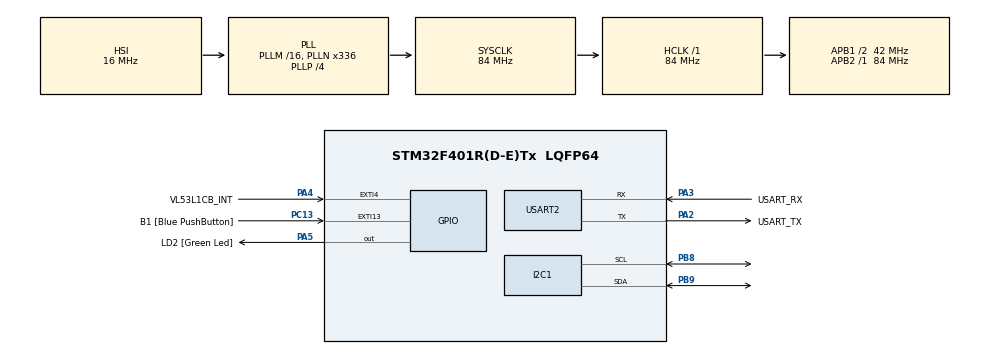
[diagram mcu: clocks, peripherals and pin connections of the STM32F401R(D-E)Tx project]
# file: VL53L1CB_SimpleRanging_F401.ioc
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I2C1.I2C_Mode=I2C_Standard
Mcu.Family=STM32F4
Mcu.Name=STM32F401R(D-E)Tx
Mcu.Package=LQFP64
NVIC.EXTI4_IRQn=true\:0\:0\:false\:false\:true\:true\:true\:true
NVIC.PriorityGroup=NVIC_PRIORITYGROUP_4
PA13.GPIO_Label=TMS
PA13.Mode=Trace_Asynchronous_SW
PA13.Signal=SYS_JTMS-SWDIO
PA14.GPIO_Label=TCK
PA14.Mode=Trace_Asynchronous_SW
PA14.Signal=SYS_JTCK-SWCLK
PA2.GPIO_Label=USART_TX
PA2.GPIO_Mode=GPIO_MODE_AF_PP
PA2.GPIO_PuPd=GPIO_NOPULL
PA2.GPIO_Speed=GPIO_SPEED_FREQ_LOW
PA2.Mode=Asynchronous
PA2.Signal=USART2_TX
PA3.GPIO_Label=USART_RX
PA3.GPIO_Mode=GPIO_MODE_AF_PP
PA3.GPIO_PuPd=GPIO_NOPULL
PA3.GPIO_Speed=GPIO_SPEED_FREQ_LOW
PA3.Mode=Asynchronous
PA3.Signal=USART2_RX
PA4.GPIO_Label=VL53L1CB_INT
PA4.GPIO_ModeDefaultEXTI=GPIO_MODE_IT_FALLING
PA4.Signal=GPXTI4
PA5.GPIO_Label=LD2 [Green Led]
PA5.GPIO_Mode=GPIO_MODE_OUTPUT_PP
PA5.GPIO_PuPd=GPIO_NOPULL
PA5.GPIO_Speed=GPIO_SPEED_FREQ_LOW
PA5.Signal=GPIO_Output
PB3.GPIO_Label=SWO
PB3.Mode=Trace_Asynchronous_SW
PB3.Signal=SYS_JTDO-SWO
PB8.Mode=I2C
PB8.Signal=I2C1_SCL
PB9.Mode=I2C
PB9.Signal=I2C1_SDA
PC13-ANTI_TAMP.GPIO_Label=B1 [Blue PushButton]
PC13-ANTI_TAMP.GPIO_ModeDefaultEXTI=GPIO_MODE_IT_FALLING
PC13-ANTI_TAMP.GPIO_PuPd=GPIO_NOPULL
PC13-ANTI_TAMP.Signal=GPXTI13
PC14-OSC32_IN.Mode=LSE-External-Oscillator
PC14-OSC32_IN.Signal=RCC_OSC32_IN
PC15-OSC32_OUT.Mode=LSE-External-Oscillator
PC15-OSC32_OUT.Signal=RCC_OSC32_OUT
PH0\ -\ OSC_IN.Mode=HSE-External-Clock-Source
PH0\ -\ OSC_IN.Signal=RCC_OSC_IN
PH1\ -\ OSC_OUT.Mode=HSE-External-Clock-Source
PH1\ -\ OSC_OUT.Signal=RCC_OSC_OUT
ProjectManager.HeapSize=0x200
ProjectManager.StackSize=0x400
ProjectManager.TargetToolchain=STM32CubeIDE
RCC.48MHZClocksFreq_Value=48000000
RCC.AHBFreq_Value=84000000
RCC.APB1CLKDivider=RCC_HCLK_DIV2
RCC.APB1Freq_Value=42000000
RCC.APB1TimFreq_Value=84000000
RCC.APB2Freq_Value=84000000
RCC.APB2TimFreq_Value=84000000
RCC.CortexFreq_Value=84000000
RCC.HCLKFreq_Value=84000000
RCC.HSE_VALUE=8000000
RCC.HSI_VALUE=16000000
RCC.PLLN=336
RCC.PLLP=RCC_PLLP_DIV4
RCC.PLLQ=7
RCC.SYSCLKFreq_VALUE=84000000
RCC.SYSCLKSource=RCC_SYSCLKSOURCE_PLLCLK
RCC.VCOOutputFreq_Value=336000000
USART2.VirtualMode=VM_ASYNC
board=NUCLEO-F401RE

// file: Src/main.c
/* USER CODE BEGIN Header */
/**
  ******************************************************************************
  * @file           : main.c
  * @brief          : Main program body
  ******************************************************************************
  * @attention
  *
  * Copyright (c) 2025 STMicroelectronics.
  * All rights reserved.
  *
  * This software is licensed under terms that can be found in the LICENSE file
  * in the root directory of this software component.
  * If no LICENSE file comes with this software, it is provided AS-IS.
  *
  ******************************************************************************
  */
/* USER CODE END Header */
#include "main.h"

/* USER CODE BEGIN Includes */
#include "stm32xxx_hal.h"
#include "vl53l1_api.h"
#include "53L1A2.h"
/* USER CODE END Includes */

I2C_HandleTypeDef hi2c1;

UART_HandleTypeDef huart2;

/* USER CODE BEGIN PV */
VL53L1_Dev_t                   dev;
VL53L1_DEV                     Dev = &dev;
int status;
volatile int IntCount;
#define isInterrupt 1 /* If isInterrupt = 1 then device working in interrupt mode, else device working in polling mode */
/* USER CODE END PV */

void SystemClock_Config(void);
static void MX_GPIO_Init(void);
static void MX_USART2_UART_Init(void);
static void MX_I2C1_Init(void);
/* USER CODE BEGIN PFP */

void Error_Handler(void);
void RangingLoop(void); /* */
void Multizones(void);

/* USER CODE END PFP */

/* USER CODE BEGIN 0 */
#ifdef __GNUC__
#define PUTCHAR_PROTOTYPE int __io_putchar(int ch)
#else
#define PUTCHAR_PROTOTYPE int fputc(int ch, FILE *f)
#endif

PUTCHAR_PROTOTYPE
{
  HAL_UART_Transmit(&huart2, (uint8_t*)&ch, 1, 0xFFFF);
  return ch;
}

void HAL_GPIO_EXTI_Callback(uint16_t GPIO_Pin)
{
  if (GPIO_Pin==VL53L1CB_INT_Pin)
  {
    IntCount++;
  }
}

/* USER CODE END 0 */

int main(void)
{

  /* USER CODE BEGIN 1 */
  uint8_t byteData;
  uint16_t wordData;
  uint8_t ToFSensor = 1; // 0=Left, 1=Center(default), 2=Right
  /* USER CODE END 1 */

  /* MCU Configuration--------------------------------------------------------*/

  /* Reset of all peripherals, Initializes the Flash interface and the Systick. */
  HAL_Init();

  /* Configure the system clock */
  SystemClock_Config();

  /* Initialize all configured peripherals */
  MX_GPIO_Init();
  MX_USART2_UART_Init();
  MX_I2C1_Init();
  /* USER CODE BEGIN 2 */
  XNUCLEO53L1A1_Init();
  printf("VL53L1X Examples...\n");
  Dev->I2cHandle = &hi2c1;
  Dev->I2cDevAddr = 0x52;

  /* Allow to select the sensor to be used, multi-sensor is not managed in this example.
  Only when use use the Left ToF in interrupt mode,  solder the U7 on the X-Nucleo-53L1A1 board
  Only when use the Right ToF in interrupt mode, solder the U7 on the X-Nucleo-53L1A1 board
  See "Solder drop configurations" in the X-Nucleo-53L1A1 User Manual for more details */
  ToFSensor = 1; // Select ToFSensor: 0=Left, 1=Center, 2=Right
  status = XNUCLEO53L1A1_ResetId(ToFSensor, 0); // Reset ToF sensor
  HAL_Delay(2);
  status = XNUCLEO53L1A1_ResetId(ToFSensor, 1); // Reset ToF sensor
  HAL_Delay(2);

  VL53L1_RdByte(Dev, 0x010F, &byteData);
  printf("VL53L1X Model_ID: %02X\n\r", byteData);
  VL53L1_RdByte(Dev, 0x0110, &byteData);
  printf("VL53L1X Module_Type: %02X\n\r", byteData);
  VL53L1_RdWord(Dev, 0x010F, &wordData);
  printf("VL53L1X: %02X\n\r", wordData);
  RangingLoop();
  //Multizones();
  /* USER CODE END 2 */

  /* Infinite loop */
  while (1)
  {

  }
}

void SystemClock_Config(void)
{
  RCC_OscInitTypeDef RCC_OscInitStruct = {0};
  RCC_ClkInitTypeDef RCC_ClkInitStruct = {0};

  /** Configure the main internal regulator output voltage
  */
  __HAL_RCC_PWR_CLK_ENABLE();
  __HAL_PWR_VOLTAGESCALING_CONFIG(PWR_REGULATOR_VOLTAGE_SCALE2);

  /** Initializes the RCC Oscillators according to the specified parameters
  * in the RCC_OscInitTypeDef structure.
  */
  RCC_OscInitStruct.OscillatorType = RCC_OSCILLATORTYPE_HSI;
  RCC_OscInitStruct.HSIState = RCC_HSI_ON;
  RCC_OscInitStruct.HSICalibrationValue = RCC_HSICALIBRATION_DEFAULT;
  RCC_OscInitStruct.PLL.PLLState = RCC_PLL_ON;
  RCC_OscInitStruct.PLL.PLLSource = RCC_PLLSOURCE_HSI;
  RCC_OscInitStruct.PLL.PLLM = 16;
  RCC_OscInitStruct.PLL.PLLN = 336;
  RCC_OscInitStruct.PLL.PLLP = RCC_PLLP_DIV4;
  RCC_OscInitStruct.PLL.PLLQ = 7;
  if (HAL_RCC_OscConfig(&RCC_OscInitStruct) != HAL_OK)
  {
    Error_Handler();
  }

  /** Initializes the CPU, AHB and APB buses clocks
  */
  RCC_ClkInitStruct.ClockType = RCC_CLOCKTYPE_HCLK|RCC_CLOCKTYPE_SYSCLK
                              |RCC_CLOCKTYPE_PCLK1|RCC_CLOCKTYPE_PCLK2;
  RCC_ClkInitStruct.SYSCLKSource = RCC_SYSCLKSOURCE_PLLCLK;
  RCC_ClkInitStruct.AHBCLKDivider = RCC_SYSCLK_DIV1;
  RCC_ClkInitStruct.APB1CLKDivider = RCC_HCLK_DIV2;
  RCC_ClkInitStruct.APB2CLKDivider = RCC_HCLK_DIV1;

  if (HAL_RCC_ClockConfig(&RCC_ClkInitStruct, FLASH_LATENCY_2) != HAL_OK)
  {
    Error_Handler();
  }
}

static void MX_I2C1_Init(void)
{

  hi2c1.Instance = I2C1;
  hi2c1.Init.ClockSpeed = 100000;
  hi2c1.Init.DutyCycle = I2C_DUTYCYCLE_2;
  hi2c1.Init.OwnAddress1 = 0;
  hi2c1.Init.AddressingMode = I2C_ADDRESSINGMODE_7BIT;
  hi2c1.Init.DualAddressMode = I2C_DUALADDRESS_DISABLE;
  hi2c1.Init.OwnAddress2 = 0;
  hi2c1.Init.GeneralCallMode = I2C_GENERALCALL_DISABLE;
  hi2c1.Init.NoStretchMode = I2C_NOSTRETCH_DISABLE;
  if (HAL_I2C_Init(&hi2c1) != HAL_OK)
  {
    Error_Handler();
  }

}

static void MX_USART2_UART_Init(void)
{

  huart2.Instance = USART2;
  huart2.Init.BaudRate = 115200;
  huart2.Init.WordLength = UART_WORDLENGTH_8B;
  huart2.Init.StopBits = UART_STOPBITS_1;
  huart2.Init.Parity = UART_PARITY_NONE;
  huart2.Init.Mode = UART_MODE_TX_RX;
  huart2.Init.HwFlowCtl = UART_HWCONTROL_NONE;
  huart2.Init.OverSampling = UART_OVERSAMPLING_16;
  if (HAL_UART_Init(&huart2) != HAL_OK)
  {
    Error_Handler();
  }

}

static void MX_GPIO_Init(void)
{
  GPIO_InitTypeDef GPIO_InitStruct = {0};

  /* GPIO Ports Clock Enable */
  __HAL_RCC_GPIOC_CLK_ENABLE();
  __HAL_RCC_GPIOH_CLK_ENABLE();
  __HAL_RCC_GPIOA_CLK_ENABLE();
  __HAL_RCC_GPIOB_CLK_ENABLE();

  /*Configure GPIO pin Output Level */
  HAL_GPIO_WritePin(LD2_GPIO_Port, LD2_Pin, GPIO_PIN_RESET);

  /*Configure GPIO pin : B1_Pin */
  GPIO_InitStruct.Pin = B1_Pin;
  GPIO_InitStruct.Mode = GPIO_MODE_IT_FALLING;
  GPIO_InitStruct.Pull = GPIO_NOPULL;
  HAL_GPIO_Init(B1_GPIO_Port, &GPIO_InitStruct);

  /*Configure GPIO pin : VL53L1CB_INT_Pin */
  GPIO_InitStruct.Pin = VL53L1CB_INT_Pin;
  GPIO_InitStruct.Mode = GPIO_MODE_IT_FALLING;
  GPIO_InitStruct.Pull = GPIO_NOPULL;
  HAL_GPIO_Init(VL53L1CB_INT_GPIO_Port, &GPIO_InitStruct);

  /*Configure GPIO pin : LD2_Pin */
  GPIO_InitStruct.Pin = LD2_Pin;
  GPIO_InitStruct.Mode = GPIO_MODE_OUTPUT_PP;
  GPIO_InitStruct.Pull = GPIO_NOPULL;
  GPIO_InitStruct.Speed = GPIO_SPEED_FREQ_LOW;
  HAL_GPIO_Init(LD2_GPIO_Port, &GPIO_InitStruct);

  /* EXTI interrupt init*/
  HAL_NVIC_SetPriority(EXTI4_IRQn, 0, 0);
  HAL_NVIC_EnableIRQ(EXTI4_IRQn);

}

/* USER CODE BEGIN 4 */
/* Ranging loop*/
void RangingLoop(void)
{
  VL53L1_MultiRangingData_t MultiRangingData;
  VL53L1_MultiRangingData_t *pMultiRangingData = &MultiRangingData;
  uint8_t NewDataReady = 0;
  int no_of_object_found = 0, j;
  printf("Ranging loop starts\n");
  status = VL53L1_WaitDeviceBooted(Dev);
  status = VL53L1_DataInit(Dev);
  status = VL53L1_StaticInit(Dev);
  /* VL53L1_SetPresetMode function is mandatory to be called even if default PresetMode is the VL53L1_PRESETMODE_RANGING */
  status = VL53L1_SetPresetMode(Dev, VL53L1_PRESETMODE_RANGING);
  //	status = VL53L1_SetDistanceMode(Dev, VL53L1_DISTANCEMODE_SHORT);
  //	status = VL53L1_SetMeasurementTimingBudgetMicroSeconds(Dev, 60000);
  status = VL53L1_StartMeasurement(Dev);
  if(status){
    printf("VL53L1_StartMeasurement failed: error = %d \n", status);
    while(1);
  }
  if (isInterrupt){
    do // HW interrupt mode
    {
      __WFI();
      if(IntCount !=0 ){
        IntCount=0;
        status = VL53L1_GetMultiRangingData(Dev, pMultiRangingData);
        no_of_object_found=pMultiRangingData->NumberOfObjectsFound;
        printf("Count=%5d, ", pMultiRangingData->StreamCount);
        printf("#Objs=%1d ", no_of_object_found);
        for(j=0;j<no_of_object_found;j++){
          if(j!=0)printf("\n                     ");
          printf("status=%d, D=%5dmm, Signal=%2.2f Mcps, Ambient=%2.2f Mcps",
                 pMultiRangingData->RangeData[j].RangeStatus,
                 pMultiRangingData->RangeData[j].RangeMilliMeter,
                 pMultiRangingData->RangeData[j].SignalRateRtnMegaCps/65536.0,
                 pMultiRangingData->RangeData[j].AmbientRateRtnMegaCps/65536.0);
        }
        printf ("\n");
        if (status==0){
          status = VL53L1_ClearInterruptAndStartMeasurement(Dev);
        }
      }
    }
    while(1);
  }
  else{
    do{ // polling mode
      status = VL53L1_GetMeasurementDataReady(Dev, &NewDataReady);
      HAL_Delay(1);
      if((!status)&&(NewDataReady!=0)){
        status = VL53L1_GetMultiRangingData(Dev, pMultiRangingData);
        no_of_object_found=pMultiRangingData->NumberOfObjectsFound;
        printf("Count=%5d, ", pMultiRangingData->StreamCount);
        printf("#Objs=%1d ", no_of_object_found);
        for(j=0;j<no_of_object_found;j++){
          if(j!=0)printf("\n                     ");
          printf("status=%d, D=%5dmm, Signal=%2.2f Mcps, Ambient=%2.2f Mcps",
                 pMultiRangingData->RangeData[j].RangeStatus,
                 pMultiRangingData->RangeData[j].RangeMilliMeter,
                 pMultiRangingData->RangeData[j].SignalRateRtnMegaCps/65536.0,
                 pMultiRangingData->RangeData[j].AmbientRateRtnMegaCps/65536.0);
        }
        printf ("\n");
        if (status==0){
          status = VL53L1_ClearInterruptAndStartMeasurement(Dev);
        }
      }
    }
    while (1);
  }
}

/* Multizones loop*/
void Multizones(void)
{
  VL53L1_MultiRangingData_t MultiRangingData;
  VL53L1_MultiRangingData_t *pMultiRangingData = &MultiRangingData;
  uint8_t NewDataReady = 0;
  uint8_t NumROI = 2, RoiNumber=0, RoiStatus=0;
  int no_of_object_found = 0, j;
  VL53L1_RoiConfig_t pRoiConfig;
  printf("Multizones loop starts\n");
  status = VL53L1_WaitDeviceBooted(Dev);
  status = VL53L1_DataInit(Dev);
  status = VL53L1_StaticInit(Dev);
  /*VL53L1_SetPresetMode function is mandatory to be called even if default PresetMode is the VL53L1_PRESETMODE_RANGING */
  status = VL53L1_SetPresetMode(Dev, VL53L1_PRESETMODE_MULTIZONES_SCANNING);
  pRoiConfig.NumberOfRoi=NumROI;

  pRoiConfig.UserRois[0].TopLeftX=0;
  pRoiConfig.UserRois[0].TopLeftY=15;
  pRoiConfig.UserRois[0].BotRightX=7;
  pRoiConfig.UserRois[0].BotRightY=0;

  pRoiConfig.UserRois[1].TopLeftX=8;
  pRoiConfig.UserRois[1].TopLeftY=15;
  pRoiConfig.UserRois[1].BotRightX=15;
  pRoiConfig.UserRois[1].BotRightY=0;

  /* VL53L1_SetROI must be called after VL53L1_SetPresetMode */
  status = VL53L1_SetROI(Dev, &pRoiConfig);
  if (!status){
    status = VL53L1_StartMeasurement(Dev);
  }
  else{
    printf("VL53L1_SetROI failed: error =%d\n", status);
    while(1){};
  };
  if(status){
    printf("VL53L1_StartMeasurement failed: error = %d \n", status);
    while(1);
  }
  if (isInterrupt){
    do // HW interrupt mode
    {
      __WFI();
      if(IntCount !=0 ){
        IntCount=0;

        status = VL53L1_GetMultiRangingData(Dev, pMultiRangingData);
        RoiNumber=pMultiRangingData->RoiNumber;
        RoiStatus=pMultiRangingData->RoiStatus;
        no_of_object_found=pMultiRangingData->NumberOfObjectsFound;
        printf("Count=%5d, ", pMultiRangingData->StreamCount);
        printf("RoiNumber%1d, ", RoiNumber);
        printf("RoiStatus=%1d, ", RoiStatus);
        printf("#Objs=%1d, ", no_of_object_found);
        for(j=0;j<no_of_object_found;j++){
          if(j!=0)printf("\n                                               ");
          printf("status=%d, D=%5dmm, Signal=%2.2f Mcps, Ambient=%2.2f Mcps",
                 pMultiRangingData->RangeData[j].RangeStatus,
                 pMultiRangingData->RangeData[j].RangeMilliMeter,
                 pMultiRangingData->RangeData[j].SignalRateRtnMegaCps/65536.0,
                 pMultiRangingData->RangeData[j].AmbientRateRtnMegaCps/65536.0);
        }
        printf ("\n");
        if (status==0){
          status = VL53L1_ClearInterruptAndStartMeasurement(Dev);
        }

      }
    }
    while(1);
  }
  else{
    do{ // polling mode
      status = VL53L1_GetMeasurementDataReady(Dev, &NewDataReady);
      HAL_Delay(1);
      if((!status)&&(NewDataReady!=0)){
        status = VL53L1_GetMultiRangingData(Dev, pMultiRangingData);
        RoiNumber=pMultiRangingData->RoiNumber;
        RoiStatus=pMultiRangingData->RoiStatus;
        no_of_object_found=pMultiRangingData->NumberOfObjectsFound;
        printf("Count=%5d, ", pMultiRangingData->StreamCount);
        printf("RoiNumber%1d, ", RoiNumber);
        printf("RoiStatus=%1d, ", RoiStatus);
        printf("#Objs=%1d, ", no_of_object_found);
        for(j=0;j<no_of_object_found;j++){
          if(j!=0)printf("\n                                               ");
          printf("status=%d, D=%5dmm, Signal=%2.2f Mcps, Ambient=%2.2f Mcps",
                 pMultiRangingData->RangeData[j].RangeStatus,
                 pMultiRangingData->RangeData[j].RangeMilliMeter,
                 pMultiRangingData->RangeData[j].SignalRateRtnMegaCps/65536.0,
                 pMultiRangingData->RangeData[j].AmbientRateRtnMegaCps/65536.0);
        }
        printf ("\n");
        if (status==0){
          status = VL53L1_ClearInterruptAndStartMeasurement(Dev);
        }
      }
    }
    while (1);
  }
}

/* USER CODE END 4 */

void Error_Handler(void)
{
  __disable_irq();
  while (1)
  {
  }
}
